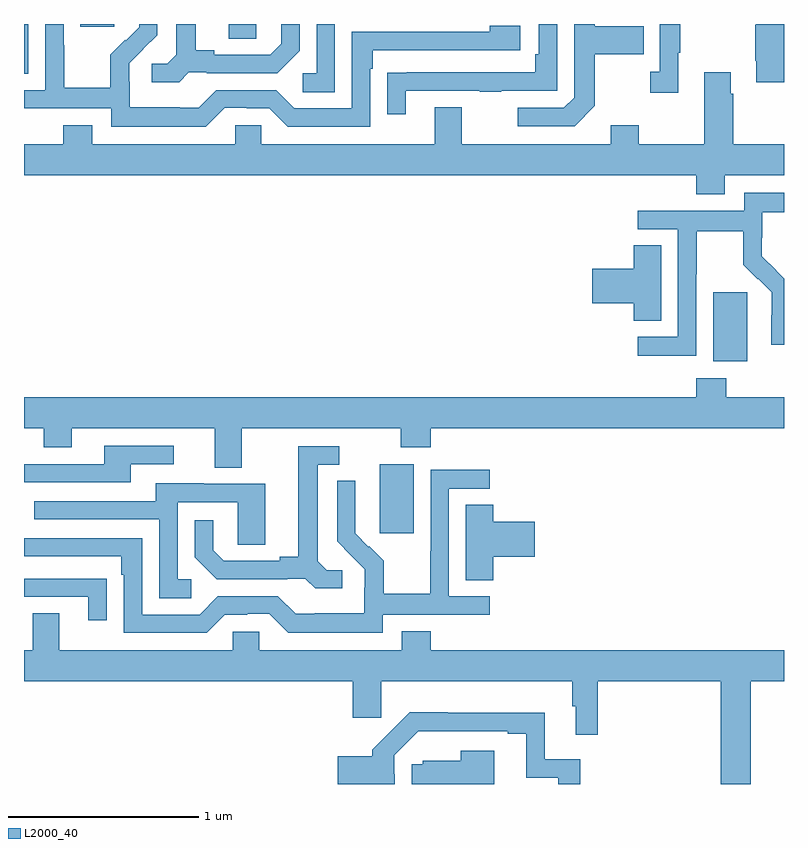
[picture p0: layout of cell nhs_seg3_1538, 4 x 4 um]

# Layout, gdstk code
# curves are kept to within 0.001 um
import gdstk
lib = gdstk.Library(unit=1e-6, precision=1e-09)
def R(c, l, rs):  # rectangles x0, y0, x1, y1
    for r in rs: c.add(gdstk.rectangle(r[:2], r[2:], *l))
def P(c, l, *ps):  # polygons
    for p in ps: c.add(gdstk.Polygon(p, *l))
L2000_40 = (2000, 40)

nhs_seg3_1538 = lib.new_cell('nhs_seg3_1538')
R(nhs_seg3_1538, L2000_40, [(192.872,677.721,193.051,678.082), (194.627,678.626,194.806,678.987), (191,680.137,191.023,680.4), (192.077,680.323,192.222,680.4), (191.297,680.385,191.476,680.4)])
P(nhs_seg3_1538, L2000_40, [(192.636,680.4),(192.54,680.4),(192.54,680.142),(192.468,680.142),(192.468,680.041),(192.636,680.041)],
  [(191.868,680.145),(191.962,680.145),(191.962,680.142),(192.334,680.142),(192.45,680.258),(192.45,680.4),(192.353,680.4),(192.353,680.295),(192.296,680.238),(192.001,680.238),(192.001,680.261),(191.905,680.261),(191.905,680.4),(191.801,680.4),(191.801,680.237),(191.754,680.19),(191.673,680.19),(191.673,680.093),(191.816,680.093)],
  [(193.009,680.049),(193.399,680.049),(193.399,680.044),(193.511,680.044),(193.511,680.049),(193.806,680.049),(193.806,680.4),(193.71,680.4),(193.71,680.242),(193.69,680.242),(193.69,680.145),(193.015,680.145),(193.015,680.144),(192.913,680.144),(192.913,679.926),(193.009,679.926)],
  [(194.443,680.249),(194.455,680.249),(194.455,680.4),(194.346,680.4),(194.346,680.15),(194.295,680.15),(194.295,680.037),(194.443,680.037)],
  [(194.005,679.969),(194.005,680.242),(194.261,680.242),(194.261,680.389),(194.005,680.389),(194.005,680.4),(193.896,680.4),(193.896,680.013),(193.842,679.959),(193.599,679.959),(193.599,679.863),(193.899,679.863)],
  [(192.057,679.959),(192.173,679.959),(192.173,679.956),(192.291,679.956),(192.387,679.86),(192.822,679.86),(192.822,680.165),(192.835,680.165),(192.835,680.262),(193.612,680.262),(193.612,680.392),(193.451,680.392),(193.451,680.358),(192.726,680.358),(192.726,679.956),(192.423,679.956),(192.327,680.052),(192.012,680.052),(191.919,679.959),(191.819,679.959),(191.819,679.963),(191.556,679.963),(191.556,680.097),(191.554,680.097),(191.554,680.194),(191.7,680.342),(191.7,680.4),(191.606,680.4),(191.606,680.384),(191.535,680.313),(191.532,680.316),(191.455,680.239),(191.455,680.065),(191.211,680.065),(191.211,680.288),(191.208,680.288),(191.208,680.4),(191.112,680.4),(191.112,680.052),(191,680.052),(191,679.956),(191.46,679.956),(191.46,679.859),(191.957,679.859)],
  [(195,680.4),(194.855,680.4),(194.855,680.395),(194.848,680.395),(194.848,680.206),(194.855,680.206),(194.855,680.094),(195,680.094)],
  [(194.689,679.604),(195,679.604),(195,679.768),(194.732,679.768),(194.732,680.033),(194.719,680.033),(194.719,680.146),(194.579,680.146),(194.579,679.768),(194.235,679.768),(194.235,679.867),(194.087,679.867),(194.087,679.768),(193.303,679.768),(193.303,679.963),(193.163,679.963),(193.163,679.768),(192.249,679.768),(192.249,679.866),(192.111,679.866),(192.111,679.768),(191.359,679.768),(191.359,679.867),(191.207,679.867),(191.207,679.768),(191,679.768),(191,679.604),(194.537,679.604),(194.537,679.505),(194.689,679.505)],
  [(194.538,679.084),(194.541,679.084),(194.541,679.308),(194.785,679.308),(194.785,679.133),(194.862,679.056),(194.865,679.059),(194.936,678.989),(194.936,678.866),(194.934,678.866),(194.934,678.712),(195,678.712),(195,679.06),(194.884,679.178),(194.884,679.275),(194.886,679.275),(194.886,679.409),(195,679.409),(195,679.513),(194.79,679.513),(194.79,679.416),(194.229,679.416),(194.229,679.32),(194.442,679.32),(194.442,678.753),(194.229,678.753),(194.229,678.655),(194.538,678.655)],
  [(194.353,679.235),(194.21,679.235),(194.21,679.112),(193.992,679.112),(193.992,678.929),(194.21,678.929),(194.21,678.838),(194.353,678.838)],
  [(192.145,678.272),(192.982,678.272),(192.982,678.173),(193.142,678.173),(193.142,678.272),(195,678.272),(195,678.436),(194.697,678.436),(194.697,678.535),(194.537,678.535),(194.537,678.436),(191,678.436),(191,678.272),(191.104,678.272),(191.104,678.173),(191.251,678.173),(191.251,678.272),(192.005,678.272),(192.005,678.064),(192.145,678.064)],
  [(191.563,678.084),(191.788,678.084),(191.788,678.18),(191.423,678.18),(191.423,678.084),(191,678.084),(191,677.988),(191.563,677.988)],
  [(192.676,677.526),(192.594,677.526),(192.547,677.573),(192.547,678.081),(192.658,678.081),(192.658,678.177),(192.443,678.177),(192.443,677.597),(192.347,677.597),(192.347,677.574),(192.052,677.574),(191.995,677.631),(191.995,677.788),(191.898,677.788),(191.898,677.594),(192.014,677.478),(192.386,677.478),(192.386,677.481),(192.48,677.481),(192.532,677.429),(192.676,677.429)],
  [(192.888,677.292),(193.45,677.292),(193.45,677.388),(193.236,677.388),(193.236,677.955),(193.45,677.955),(193.45,678.054),(193.14,678.054),(193.14,677.624),(193.138,677.624),(193.138,677.401),(192.893,677.401),(192.893,677.575),(192.816,677.652),(192.813,677.649),(192.743,677.72),(192.744,677.996),(192.648,677.996),(192.648,677.678),(192.794,677.53),(192.794,677.433),(192.792,677.433),(192.792,677.299),(192.529,677.299),(192.529,677.295),(192.429,677.295),(192.336,677.388),(192.021,677.388),(191.925,677.292),(191.622,677.292),(191.622,677.694),(191,677.694),(191,677.598),(191.513,677.598),(191.513,677.501),(191.526,677.501),(191.526,677.196),(191.961,677.196),(192.057,677.292),(192.176,677.292),(192.176,677.295),(192.291,677.295),(192.391,677.195),(192.888,677.195)],
  [(191.881,677.478),(191.808,677.478),(191.808,677.883),(192.126,677.883),(192.126,677.659),(192.271,677.659),(192.271,677.979),(191.947,677.979),(191.947,677.983),(191.693,677.983),(191.693,677.889),(191.053,677.889),(191.053,677.793),(191.712,677.793),(191.712,677.377),(191.881,677.377)],
  [(193.469,677.597),(193.687,677.597),(193.687,677.78),(193.469,677.78),(193.469,677.87),(193.325,677.87),(193.325,677.473),(193.469,677.473)],
  [(191.435,677.48),(191.333,677.48),(191.333,677.481),(191,677.481),(191,677.385),(191.339,677.385),(191.339,677.262),(191.435,677.262)],
  [(194.826,676.94),(195,676.94),(195,677.104),(193.142,677.104),(193.142,677.203),(192.989,677.203),(192.989,677.104),(192.237,677.104),(192.237,677.202),(192.099,677.202),(192.099,677.104),(191.185,677.104),(191.185,677.299),(191.045,677.299),(191.045,677.104),(191,677.104),(191,676.94),(192.731,676.94),(192.731,676.749),(192.881,676.749),(192.881,676.94),(193.885,676.94),(193.885,676.808),(193.904,676.808),(193.904,676.659),(194.021,676.659),(194.021,676.94),(194.666,676.94),(194.666,676.4),(194.826,676.4)],
  [(192.952,676.451),(192.948,676.451),(192.948,676.551),(193.074,676.677),(193.547,676.677),(193.547,676.665),(193.643,676.665),(193.643,676.434),(193.812,676.434),(193.812,676.4),(193.928,676.4),(193.928,676.53),(193.741,676.53),(193.741,676.774),(193.229,676.774),(193.229,676.777),(193.03,676.777),(192.833,676.579),(192.833,676.546),(192.65,676.546),(192.65,676.4),(192.952,676.4)],
  [(193.474,676.576),(193.298,676.576),(193.298,676.522),(193.098,676.522),(193.098,676.503),(193.041,676.503),(193.041,676.4),(193.474,676.4)])

lib.write_gds('nhs_seg3_1538.gds')
